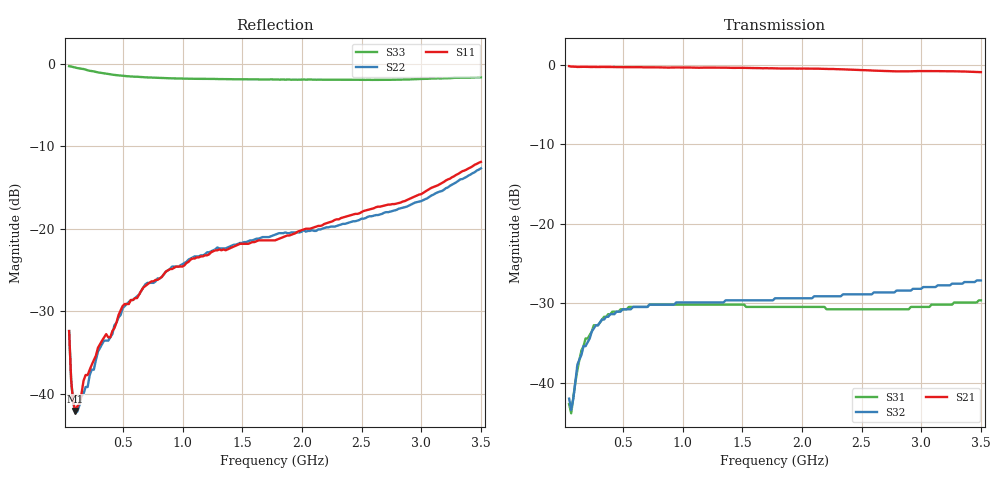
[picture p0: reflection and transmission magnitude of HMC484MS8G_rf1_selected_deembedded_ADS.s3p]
!Hittite Microwave Corporation
!12 Elizabeth Drive
!Chelmsford, MA 01824
!Tel: 978-250-3343
!Fax: 978-250-3373
!Device: HMC484MS8G, DC - 3 GHz GaAs MMIC 10 Watt T/R Switch in 8-lead MSOP grounded base package
!Misc: Port1=RFC, Port2= RF1, Port3=RF2, RF1 ON, Bias: +5VDC
# MHZ S MA R 50
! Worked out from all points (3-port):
!   201 points, 50 MHz to 3.5 GHz, reference 50 ohm
!   strongest paths, dB at 50 MHz, 912.5 MHz, 1.775 GHz, 2.638 GHz, 3.5 GHz:
!     S21: -0.2, -0.4, -0.5, -0.8, -0.9
!     S32: -42.0, -30.2, -29.4, -28.6, -27.1
!     S31: -42.7, -30.2, -30.5, -30.8, -29.6
!   lowest |S11| = -42.1 dB at 101.8 MHz (marker M1), VSWR 1.02, Z = 50.8 - j0.0358 ohm
!   |S11| at or under -10 dB: start of sweep to end of sweep
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50  0.024 78.9  0.978 -3.5  0.007444 65.6
    0.979 -3.4  0.024 77.8  0.007964 74.5
    0.00734 64.8  0.00795 74.0  0.965 -19.8
67.25  0.012 42.6  0.972 -3.6  0.006461 64.7
       0.973 -3.5  0.012 46.1  0.006599 63.8
       0.006429 64.0  0.006752 62.9  0.96 -26.7
101.75  0.007876 -2.6  0.97 -4.5  0.009912 74.7
        0.971 -4.5  0.007621 3.0  0.01 73.3
        0.01 74.2  0.01 72.8  0.947 -39.3
257  0.016 -63.1  0.968 -10.1  0.023 44.5
     0.968 -10.1  0.014 -56.8  0.022 46.7
     0.023 44.6  0.022 46.3  0.897 -86.9
412.25  0.024 -83.5  0.967 -15.8  0.028 25.6
        0.967 -15.8  0.023 -71.5  0.027 29.6
        0.028 25.6  0.027 29.5  0.858 -118.8
619.25  0.038 -102.5  0.965 -23.5  0.03 11.3
        0.965 -23.4  0.039 -88.7  0.03 16.2
        0.03 11.4  0.03 16.2  0.833 -146.5
1067.75  0.065 -129.9  0.958 -40.0  0.031 -7.9
         0.96 -39.9  0.066 -109.9  0.032 0.2
         0.031 -7.9  0.032 0.2  0.81 177.3
1775  0.085 -165.6  0.948 -66.4  0.03 -26.1
      0.948 -66.4  0.092 -137.3  0.034 -14.1
      0.03 -26.2  0.034 -14.1  0.801 139.0
2482.25  0.124 161.1  0.927 -93.4  0.029 -38.3
         0.928 -93.4  0.113 -172.3  0.036 -25.3
         0.029 -38.2  0.036 -25.4  0.799 107.2
3500  0.254 124.9  0.897 -132.6  0.033 -51.6
      0.898 -132.6  0.232 139.8  0.044 -41.2
      0.033 -51.5  0.044 -41.2  0.825 70.7
